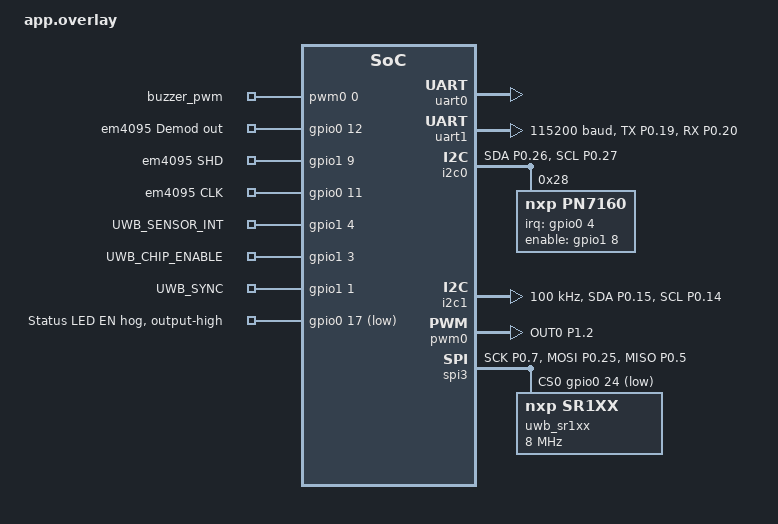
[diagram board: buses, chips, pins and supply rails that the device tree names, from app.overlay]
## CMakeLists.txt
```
# SPDX-License-Identifier: Apache-2.0

cmake_minimum_required(VERSION 3.20.0)

find_package(Zephyr REQUIRED HINTS $ENV{ZEPHYR_BASE})
project(hello_world)

target_sources_ifndef(CONFIG_DTM_TRANSPORT_HCI app PRIVATE
  src/dtm/transport/dtm_uart_twowire.c
  src/dtm/transport/dtm_uart_wait.c
)

target_sources_ifdef(CONFIG_DTM_TRANSPORT_HCI app PRIVATE src/dtm/transport/dtm_hci.c)

if(CONFIG_DTM_TRANSPORT_HCI AND "${BOARD}" STREQUAL "nrf5340dk")
  target_sources(app PRIVATE src/dtm/transport/hci_uart_remote.c)
  target_include_directories(app PRIVATE ./rpc)
else()
  target_sources_ifdef(CONFIG_DTM_TRANSPORT_HCI app PRIVATE src/dtm/transport/hci_uart.c)
endif()

target_include_directories(app PRIVATE
    src/buzzer
    src/radio_test
    src/pn7160
    src/pn7160/inc
    src/pn7160/TML/inc
    src/pn7160/board/inc
    src/pn7160/NfcLibrary_NCI2.0/inc
    src/pn7160/NfcLibrary_NCI2.0/NxpNci20/inc
    src/pn7160/NfcLibrary_NCI2.0/NdefLibrary/inc
    src/dtm/
    src/dtm/transport
    src/em4095/
    src/uwb/common/
    src/uwb/nxp_logic/inc
    src/uwb/ext/firmware_images/SR1XX/
    src/uwb/ext/boards/nrf52840dk/bluetooth/profiles/private_profile/
    src/uwb/libs/halimpl/inc/
    src/uwb/libs/halimpl/fwd/
    src/uwb/libs/halimpl/transport/SPI/
    src/uwb/libs/uci-core/inc/
    src/uwb/libs/uci-core/inc/SR1XX/
    src/uwb/libs/uwb-iot/uwb_core/include/
    src/uwb/libs/uwb-iot/uwb_api/Api/
    src/uwb/libs/uwb-iot/uwb_api/Api/SR1xx/
    src/uwb/libs/uwb-iot/uwb_api/Api/SR1xx/SR150/
    src/uwb/libs/halimpl/fwd/SR1XX/
    src/uwb/boards/Host/Rhodes4/
    src/uwb/boards/Rhodes4_SPI/
    src/uwb/se_mw/se_hostlib/hostLib/fira/inc/
    src/uwb/se_mw/se_hostlib/hostLib/inc/
    src/uwb/se_mw/se_hostlib/hostLib/libCommon/infra/
    src/uwb/se_mw/se_hostlib/hostLib/libCommon/log/
    src/uwb/se_mw/se_hostlib/hostLib/libCommon/smCom/
    src/uwb/se_mw/sss/inc/
    src/uwb/se_mw/sss/ex/inc/
    src/uwb/se_mw/sss/port/default/
    src/uwb/demos/common/
    src/uwb/firmware_images/SR1XX/Prod_ROW/
    src/uwb/firmware_images/SR1XX/
    src/uwb/demo_test_rx/
    src/uwb/demo_test_tx/
)

# Application sources
FILE(GLOB app_sources 
    src/*.c 
    src/cmd/*.c
    src/buzzer/*.c 
    src/radio_test/*.c
    src/pn7160/*.c
    src/pn7160/TML/src/*.c
    src/pn7160/NfcLibrary_NCI2.0/NxpNci20/src/*.c
    src/pn7160/NfcLibrary_NCI2.0/NdefLibrary/src/*.c
    src/dtm/*.c
    src/em4095/*.c
    src/uwb/*.c
)

FILE(GLOB_RECURSE uwb_sources
    src/uwb/*/*.c
)

target_sources(app PRIVATE 
    ${app_sources}
    ${uwb_sources}
)

target_sources(app PRIVATE 
    ${app_sources}
)

target_compile_definitions(app PRIVATE 
    #BUZZER_SUPPORT 
    RW_SUPPORT     # pn7160 
    senao # UWB antenna senao config
    UWBIOT_APP_BUILD__DEMO_TEST_TX
    UWBIOT_APP_BUILD__DEMO_TEST_RX
)
```

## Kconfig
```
# Copyright (c) 2025 Nordic Semiconductor ASA
# SPDX-License-Identifier: Apache-2.0

# Project Kconfig root; sources Zephyr menu.
source "Kconfig.zephyr"

menu "DTM Configuration"
config SHELL_BACKEND_SERIAL_RS485_DE
	bool "Shell UART RS485 DE GPIO control (HIGH before TX, LOW after)"
	default n
	depends on SHELL_BACKEND_SERIAL && GPIO

config SHELL_RS485_DE_GPIO_PIN
	int "RS485 DE GPIO pin (e.g. 21 = P0.21)"
	default 21
	depends on SHELL_BACKEND_SERIAL_RS485_DE

config SHELL_RS485_DE_OFF_DELAY_MS
	int "Delay (ms) before DE goes LOW after TX"
	default 1
	range 0 10
	depends on SHELL_BACKEND_SERIAL_RS485_DE
	help
	  Wait for UART to finish shifting last byte(s). Increase if PuTTY shows missing chars.

config SHELL_RS485_DE_ON_DELAY_US
	int "Delay (us) after DE HIGH before first TX byte"
	default 250
	range 0 1000
	depends on SHELL_BACKEND_SERIAL_RS485_DE
	help
	  Wait for transceiver to drive before sending. Fixes "art:~$" -> "uart:~$".

config SHELL_RS485_DE_MAX_HIGH_MS
	int "Max time (ms) DE stays HIGH; force LOW after to allow RX (Enter)"
	default 10
	range 5 50
	depends on SHELL_BACKEND_SERIAL_RS485_DE
	help
	  Safety: force DE low after this time so device can receive (e.g. Enter key).

config DTM_RADIO_IRQ_PRIORITY
	int "Radio interrupt priority"
	range 0 5 if ZERO_LATENCY_IRQS
	range 0 6
	default 2
	help
	  Sets Radio interrupt priority.
	  Levels are from 0 (highest priority) to 6 (lowest priority)

config DTM_TIMER_IRQ_PRIORITY
	int "DTM timer interrupt priority"
	range 0 5 if ZERO_LATENCY_IRQS
	range 0 6
	default 3
	help
	  Sets DTM timer interrupt priority.
	  Levels are from 0 (highest priority) to 6 (lowest priority)

config ANOMALY_172_TIMER_IRQ_PRIORITY
	int "Anomaly 172 timer interrupt priority"
	depends on SOC_NRF52840
	range 0 5 if ZERO_LATENCY_IRQS
	range 0 6
	default 2
	help
	  Sets anomaly 172 timer interrupt priority.
	  Levels are from 0 (highest priority) to 6 (lowest priority)

config DTM_USB
	bool "DTM over USB CDC ACM class"
	depends on SOC_NRF5340_CPUNET && !DTM_TRANSPORT_HCI
	select EXPERIMENTAL
	help
	  Use USB instead of UART as the DTM interface. For nRF5340 the USB from application core
	  is used as communication interface.

config DTM_TRANSPORT_HCI
	bool "DTM over HCI UART [EXPERIMENTAL]"
	depends on SERIAL
	depends on NET_BUF
	select EXPERIMENTAL
	help
	  Use the HCI UART transport interface as the DTM transport layer.
	  This option is inherited from SB_CONFIG_DTM_TRANSPORT_HCI.

if DTM_TRANSPORT_HCI

config DTM_HCI_QUEUE_COUNT
	int "Count of HCI RX/TX queues"
	default 16
	help
	  Maximum depth of the HCI RX/TX queues.

config DTM_HCI_QUEUE_SIZE
	int "Size of HCI RX/TX queue buffer"
	default 1024
	help
	  Maximum size of the HCI RX/TX queue element.

config DTM_HCI_TX_THREAD_STACK_SIZE
	int "Stack size of TX thread"
	default 2048
	help
	  Stack size of the TX thread.

config DTM_HCI_TX_THREAD_PRIORITY
	int "TX thread priority"
	default 7
	help
	  Priority of the TX thread.

endif # DTM_TRANSPORT_HCI

config DTM_POWER_CONTROL_AUTOMATIC
	bool "Automatic power control"
	depends on FEM
	default y
	help
	  Set the SoC output power and the front-end module gain to achieve the TX output power
	  requested by user. If the exact value cannot be achieved, power is set to the closest
	  possible value. If this option is disabled, user can set the SoC output power and the
	  front-end module gain with the separate vendor specific commands.

config DTM_FAST_RAMP_UP
	bool "Enable radio fast ramp up mode"
	default y
	help
	  Do fast ramp up when starting the radio peripheral. This mode will significancy reduce
	  the ramp up time and makes it almost the same on all supported chips.

module = DTM_TRANSPORT
module-str = "DTM_transport"
source "${ZEPHYR_BASE}/subsys/logging/Kconfig.template.log_config"
endmenu

# RS485 DE (patch shell_uart.c; options here so prj.conf can set them)
menu "RS485 DE Configuration"
config SHELL_BACKEND_SERIAL_RS485_DE
	bool "Shell UART RS485 DE GPIO control (HIGH before TX, LOW after)"
	default n
	depends on SHELL_BACKEND_SERIAL && GPIO

config SHELL_RS485_DE_GPIO_PIN
	int "RS485 DE GPIO pin (e.g. 21 = P0.21)"
	default 21
	depends on SHELL_BACKEND_SERIAL_RS485_DE

config SHELL_RS485_DE_OFF_DELAY_MS
	int "Delay (ms) before DE goes LOW after TX"
	default 1
	range 0 10
	depends on SHELL_BACKEND_SERIAL_RS485_DE
	help
	  Wait for UART to finish shifting last byte(s). Increase if PuTTY shows missing chars.

config SHELL_RS485_DE_ON_DELAY_US
	int "Delay (us) after DE HIGH before first TX byte"
	default 250
	range 0 1000
	depends on SHELL_BACKEND_SERIAL_RS485_DE
	help
	  Wait for transceiver to drive before sending. Fixes "art:~$" -> "uart:~$".

config SHELL_RS485_DE_MAX_HIGH_MS
	int "Max time (ms) DE stays HIGH; force LOW after to allow RX (Enter)"
	default 10
	range 5 50
	depends on SHELL_BACKEND_SERIAL_RS485_DE
	help
	  Safety: force DE low after this time so device can receive (e.g. Enter key).
endmenu

menu "Radio Test Configuration"
config RADIO_TEST_USB
	bool "Radio Test shell over USB CDC ACM class"
	depends on SOC_NRF5340_CPUNET
	select EXPERIMENTAL
	help
	  Use USB instead of UART as the Radio Test shell transport.
	  For nRF5340 the USB from application core is used as communication interface.

config RADIO_TEST_POWER_CONTROL_AUTOMATIC
	bool "Automatic power control"
	depends on FEM
	default y
	help
	  Set SoC output power and front-end module gain to achieve Tx output power requested
	  by user. If the exact value cannot be achieved, power is set to closest value which does
	  not exceed the limits. If this option is disabled, user has to set SoC output power and
	  fem gain with separate commands.

config RADIO_TEST_RX_TIMEOUT
	int "RX packet reception timeout"
	default 10
	help
	  Specifies the time in seconds that the application waits for the first packet to be
	  received in RX mode when a specified number of packets are set to be received.
	  If the timeout is reached before the first packet is received, the radio will be disabled.
endmenu

menu "UWB Configuration"
config UWB_LOG_ENABLED
	bool "Enable UWB logging output"
	default n
	help
	  Enable UWB module logging output. If disabled, all UWB log messages will be suppressed.

config UWB_PRINTK_LOG
	bool "Use printk for UWB logging (instead of shell/logging subsystem)"
	default n
	depends on UWB_LOG_ENABLED
	help
	  If enabled, UWB logs will use printk() directly instead of shell_print() or Zephyr logging subsystem.
	  This is useful for debugging but may produce more verbose output.
endmenu

menu "Shell Configuration"
config SHELL_THREAD_PRIORITY
	int "Shell thread priority"
	default 0
	range -15 15
	help
	  Priority of the shell thread. Lower numbers indicate higher priority.
	  Default is 0 (normal priority). Use negative values for higher priority.
	  For cooperative threads, use K_PRIO_COOP() macro values (typically 0-15).
	  For preemptible threads, use K_PRIO_PREEMPT() macro values (typically -15 to -1).
endmenu
```

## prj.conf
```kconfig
# Console and Shell
CONFIG_SERIAL=y
CONFIG_CONSOLE=y
CONFIG_UART_CONSOLE=y
# Shell: interrupt-driven (stable; avoid Nordic async issues)
CONFIG_SHELL=y
CONFIG_SHELL_BACKEND_SERIAL=y

# RS485 DE: apply patches/0001-shell-uart-rs485-de.patch to Zephyr
CONFIG_SHELL_BACKEND_SERIAL_RS485_DE=y
CONFIG_SHELL_RS485_DE_GPIO_PIN=21
# Delay (ms) before DE low after TX. 3=balance; 4-5=less garbled; 2=faster RX (Enter) but more garbled
CONFIG_SHELL_RS485_DE_OFF_DELAY_MS=1
# Delay (us) after DE high before first byte; fixes "art:~$" -> "uart:~$"
# 減少延遲以加快輸出速度（如果 RS485 線路穩定，可以降低）
CONFIG_SHELL_RS485_DE_ON_DELAY_US=100
# Max DE high (ms); force low after so RX/Enter works
CONFIG_SHELL_RS485_DE_MAX_HIGH_MS=10
CONFIG_SHELL_BACKEND_SERIAL_API_ASYNC=n
CONFIG_SHELL_BACKEND_SERIAL_API_INTERRUPT_DRIVEN=y
CONFIG_UART_INTERRUPT_DRIVEN=y

# Shell init priority lower than UART driver (avoid Hard Fault)
CONFIG_SHELL_BACKEND_SERIAL_INIT_PRIORITY=95

# Shell thread priority (higher priority = lower number, negative for preemptible)
# 設置為 -1 以提高 shell 線程優先級（高於預設的 0）
CONFIG_SHELL_THREAD_PRIORITY=0

CONFIG_SHELL_STACK_SIZE=4096
CONFIG_SHELL_BACKEND_SERIAL_CHECK_DTR=n
# UARTE1 (UART1)
CONFIG_UART_NRFX=y
CONFIG_NRFX_UARTE1=y

# Interrupt-driven; no UART async
# CONFIG_UART_ASYNC_API=y
# CONFIG_UART_1_NRF_HW_ASYNC=y
# CONFIG_UART_1_NRF_HW_ASYNC_TIMER=4
# CONFIG_NRFX_PPI=y

# debug
CONFIG_PRINTK=y
CONFIG_LOG=y
# 讓 Logger 訊息導向 Shell
CONFIG_SHELL_LOG_BACKEND=y
# 設定 Logger 為立即輸出模式（同步，但更直接）
CONFIG_LOG_MODE_IMMEDIATE=y
# 增加日誌緩衝區大小以處理 UWB 模組的大量日誌輸出
CONFIG_LOG_BUFFER_SIZE=65536
# 增加 Shell TX ring buffer 以處理大量輸出（增大以減少阻塞）
CONFIG_SHELL_BACKEND_SERIAL_TX_RING_BUFFER_SIZE=512

# GPIO 和 LED
CONFIG_GPIO=y

# SPI
CONFIG_SPI=y

# 開啟 I2C Shell 指令集
CONFIG_I2C=y
CONFIG_I2C_SHELL=n

#PWM
CONFIG_PWM=y
CONFIG_PWM_NRFX=y

# radio_test
CONFIG_CONSOLE_HANDLER=y
CONFIG_DYNAMIC_INTERRUPTS=y
CONFIG_NRFX_TIMER0=y
CONFIG_NRFX_GPPI=y
CONFIG_CLOCK_CONTROL=y
CONFIG_ENTROPY_GENERATOR=y
CONFIG_NRF_SECURITY=y
# CONFIG_FEM=n (disabled, no FEM hardware)
# CONFIG_FEM_AL_LIB=y (not needed if FEM is disabled)
CONFIG_PICOLIBC_IO_FLOAT=y
CONFIG_SHELL_BACKEND_SERIAL_RX_RING_BUFFER_SIZE=1024

# 11.45 PPM clock
# CONFIG_CLOCK_CONTROL_NRF_K32SRC_SYNTH=y

# dtm
# Use necessary peripherals
CONFIG_NRFX_TIMER0=y
CONFIG_NRFX_TIMER1=y
CONFIG_NRFX_TIMER2=y
CONFIG_NRFX_TIMER3=y
CONFIG_NRFX_GPPI=y
CONFIG_CLOCK_CONTROL=y

CONFIG_FEM_AL_LIB=y
# 需要使用內部 RC 振盪器，不然DTM會有問題
CONFIG_CLOCK_CONTROL_NRF_K32SRC_RC=y

# ==========================================
# mbedTLS 配置 (使用 Zephyr 內建版本)
# ==========================================
# ====================================================
# 1. 關閉 Nordic 專屬的安全層 (關鍵！)
# ====================================================
# 這行是解藥。關閉它，Nordic 就不會去擋 mbedTLS 的原生設定。
CONFIG_NRF_SECURITY=y
CONFIG_MBEDTLS_LEGACY_CRYPTO_C=y

# ====================================================
# 2. 啟用 Zephyr 原生 mbedTLS
# ====================================================
CONFIG_MBEDTLS=y

# GCM 模式 (UWB SE 晶片通訊必備)
CONFIG_MBEDTLS_GCM_C=y

# 亂數產生器 (NXP SDK 需要)
CONFIG_MBEDTLS_CTR_DRBG_C=y
CONFIG_MBEDTLS_HMAC_DRBG_C=y

# Cipher 抽象層
CONFIG_MBEDTLS_CIPHER_C=y

# 大數運算與橢圓曲線 (如果有用到 Key Exchange)
CONFIG_MBEDTLS_ECP_C=y
CONFIG_MBEDTLS_ECP_DP_SECP256R1_ENABLED=y

# 允許從 User Mode 分配 Stack
CONFIG_THREAD_STACK_INFO=y

# 啟用動態執行緒支援
CONFIG_DYNAMIC_THREAD=y

# print mem usage
CONFIG_SYS_HEAP_INFO=n
CONFIG_MAIN_STACK_SIZE=16384
CONFIG_ISR_STACK_SIZE=4096
CONFIG_SYSTEM_WORKQUEUE_STACK_SIZE=4096

# Heap memory pool for k_malloc/k_free
CONFIG_HEAP_MEM_POOL_SIZE=16384

CONFIG_UWB_PRINTK_LOG=y
```

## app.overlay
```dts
&qspi {
    status = "disabled";
};

&arduino_serial {
    status = "disabled";
};

&timer4 {
    status = "disabled";
};

&led1 {
    status = "disabled";
};

&led2 {
    status = "disabled";
};

&spi1 {
    status = "disabled";
};

&button0 {
    status = "disabled";
};

&button1 {
    status = "disabled";
};

&uart0 {
    status = "okay";
};


/* UART1 (RS485)：TX=P0.19, RX=P0.20；P0.21 (DE) 由程式 GPIO 控制 */
&uart1 {
    status = "okay";
    compatible = "nordic,nrf-uarte";
    current-speed = <115200>;
    pinctrl-0 = <&uart1_default>;
    pinctrl-1 = <&uart1_sleep>;
    pinctrl-names = "default", "sleep";
};

&pinctrl {
    uart0_default: uart0_default {
        group1 {
            psels = <NRF_PSEL(UART_TX, 0, 6)>;
        };
        group2 {
            psels = <NRF_PSEL(UART_RX, 0, 8)>;
            bias-pull-up;
        };
    };
    uart0_sleep: uart0_sleep {
        group1 {
            psels = <NRF_PSEL(UART_TX, 0, 6)>,
                    <NRF_PSEL(UART_RX, 0, 8)>;
            low-power-enable;
        };
    };

    uart1_default: uart1_default {
        group1 {
            psels = <NRF_PSEL(UART_TX, 0, 19)>;
            nordic,drive-mode = <NRF_DRIVE_H0H1>;
        };
        group2 {
            psels = <NRF_PSEL(UART_RX, 0, 20)>;
            bias-pull-up;
        };
    };
    uart1_sleep: uart1_sleep {
        group1 {
            psels = <NRF_PSEL(UART_TX, 0, 19)>,
                    <NRF_PSEL(UART_RX, 0, 20)>;
            low-power-enable;
        };
    };

    i2c0_default: i2c0_default {
        group1 {
            psels = <NRF_PSEL(TWIM_SDA, 0, 26)>,
                    <NRF_PSEL(TWIM_SCL, 0, 27)>;
        };
        bias-pull-up;
    };

    i2c0_sleep: i2c0_sleep {
        group1 {
            psels = <NRF_PSEL(TWIM_SDA, 0, 26)>,
                    <NRF_PSEL(TWIM_SCL, 0, 27)>;
            low-power-enable;
        };
    };

    i2c1_default: i2c1_default {
        group1 {
            psels = <NRF_PSEL(TWIM_SDA, 0, 15)>,
                    <NRF_PSEL(TWIM_SCL, 0, 14)>;
        };
    };

    i2c1_sleep: i2c1_sleep {
        group1 {
            psels = <NRF_PSEL(TWIM_SDA, 0, 15)>,
                    <NRF_PSEL(TWIM_SCL, 0, 14)>;
            low-power-enable;
        };
    };

    spi3_default: spi3_default {
        group1 {
            psels = <NRF_PSEL(SPIM_SCK, 0, 7)>, /* CLK  P0.07 */
                    <NRF_PSEL(SPIM_MOSI, 0, 25)>, /* MOSI P0.25 */
                    <NRF_PSEL(SPIM_MISO, 0, 5)>;  /* MISO P0.05 */
        };
    };

    spi3_sleep: spi3_sleep {
        group1 {
            psels = <NRF_PSEL(SPIM_SCK, 0, 7)>,
                    <NRF_PSEL(SPIM_MOSI, 0, 25)>,
                    <NRF_PSEL(SPIM_MISO, 0, 5)>;
            low-power-enable;
        };
    };

    pwm0_default: pwm0_default {
        group1 {
            psels = <NRF_PSEL(PWM_OUT0, 1, 2)>;
            bias-pull-down;
        };
    };

    pwm0_sleep: pwm0_sleep {
        group1 {
            psels = <NRF_PSEL(PWM_OUT0, 1, 2)>;
            low-power-enable;
        };
    };
};

&gpio0 {
    gpio-reserved-ranges = <0 2>, <6 1>, <8 3>;
    status_led {
        gpio-hog;
        gpios = <17 GPIO_ACTIVE_LOW>;
        output-high;
        line-name = "Status LED EN";
    };
};

&i2c0 {
    status = "okay";
    pinctrl-0 = <&i2c0_default>;
    pinctrl-1 = <&i2c0_sleep>;
    pinctrl-names = "default", "sleep";
    pn7160: pn7160@28 {
        compatible = "nxp,pn7160";
        status = "okay";
        reg = <0x28>;

        irq-gpios = <&gpio0 4 GPIO_ACTIVE_HIGH>;
        enable-gpios = <&gpio1 8 GPIO_ACTIVE_HIGH>;
    };
};

&i2c1 {
    status = "okay";
    pinctrl-0 = <&i2c1_default>;
    pinctrl-1 = <&i2c1_sleep>;
    pinctrl-names = "default", "sleep";
    clock-frequency = <I2C_BITRATE_STANDARD>;
};

&pwm0 {
    status = "okay";
    pinctrl-0 = <&pwm0_default>;
    pinctrl-1 = <&pwm0_sleep>;
    pinctrl-names = "default", "sleep";
};

&spi3 {
    status = "okay";
    compatible = "nordic,nrf-spim";
    pinctrl-0 = <&spi3_default>;
    pinctrl-1 = <&spi3_sleep>;
    pinctrl-names = "default", "sleep";

    /* CS 腳位定義: P0.24 */
    cs-gpios = <&gpio0 24 GPIO_ACTIVE_LOW>;

    /* 定義 SR1xx 裝置節點 */
    uwb_sr1xx: uwb@0 {
        compatible = "nxp,sr1xx"; /* 配合 Driver 的 Compatible String */
        reg = <0>;                /* 對應 cs-gpios 的第 0 個 CS */
        spi-max-frequency = <8000000>; /* 8MHz */
    };
};

/ {
    chosen {
        zephyr,console = &uart0;
        zephyr,shell-uart = &uart0;
        ncs,dtm-uart = &uart0;
    };

    pwm_buzzer {
        compatible = "pwm-leds";
        buzzer_pwm: buzzer_pwm {
            pwms = <&pwm0 0 PWM_HZ(1000) PWM_POLARITY_NORMAL>;
        };
    };

    em4095_gpio {
        compatible = "gpio-keys";

        demod_out: demodout{
            gpios = <&gpio0 12 GPIO_ACTIVE_HIGH>;
            label = "em4095 Demod out";
        };

        SHD: shd{
            gpios = <&gpio1 9 GPIO_ACTIVE_HIGH>;
            label = "em4095 SHD";
        };

        CLK: clk{
            gpios = <&gpio0 11 GPIO_ACTIVE_HIGH>;
            label = "em4095 CLK";
        };
    };

    uwb_control {
        compatible = "gpio-keys"; /* 借用 gpio-keys 結構來管理一般 GPIO */

        uwb_irq: uwb_irq {
            gpios = <&gpio1 4 (GPIO_ACTIVE_HIGH | GPIO_PULL_DOWN)>;
            label = "UWB_SENSOR_INT";
        };

        uwb_ce: uwb_ce {
            gpios = <&gpio1 3 GPIO_ACTIVE_HIGH>;
            label = "UWB_CHIP_ENABLE";
        };

        uwb_sync: uwb_sync {
            gpios = <&gpio1 1 GPIO_ACTIVE_HIGH>;
            label = "UWB_SYNC";
        };
    };

    aliases {
        pwmbuzzer = &buzzer_pwm;
        em4095demodout = &demod_out;
        em4095shd = &SHD;
        em4095clk = &CLK;
        uwbspi = &uwb_sr1xx;      /* 指定使用 SPI3 作為 UWB 通訊介面 */
        uwbirqgpio = &uwb_irq;    /* P1.04 (GPIO5/SensorInt) */
        uwbcegpio  = &uwb_ce;     /* P1.03 (ChipEnable) */
        uwbsyncgpio = &uwb_sync;  /* P1.01 (GPIO3/Sync) */
    };
};
```

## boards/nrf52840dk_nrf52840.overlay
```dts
/* nRF52840 DK：Console/Shell 使用 UART0（板載 USB VCOM），插上 USB 後開 COM 埠 115200 即可。
 * UART1 仍啟用，可從程式使用（RS485 接腳 P0.19/20/21）。 */

&qspi {
	status = "disabled";
};

&timer4 {
	status = "disabled";
};

/* 使用板載 UART0 = DK USB 序列埠，不關閉 */
&uart0 {
	status = "okay";
	current-speed = <115200>;
};

&uart1 {
	status = "okay";
	compatible = "nordic,nrf-uarte";
	current-speed = <115200>;
	pinctrl-0 = <&uart1_default>;
	pinctrl-1 = <&uart1_sleep>;
	pinctrl-names = "default", "sleep";
};

&pinctrl {
	uart1_default: uart1_default {
		group1 {
			psels = <NRF_PSEL(UART_TX, 0, 19)>,
				<NRF_PSEL(UART_RTS, 0, 21)>;
		};
		group2 {
			psels = <NRF_PSEL(UART_RX, 0, 20)>;
			bias-pull-up;
		};
	};
	uart1_sleep: uart1_sleep {
		group1 {
			psels = <NRF_PSEL(UART_TX, 0, 19)>,
				<NRF_PSEL(UART_RX, 0, 20)>;
			low-power-enable;
		};
	};
};

/ {
	chosen {
		zephyr,console = &uart0;
		zephyr,shell-uart = &uart0;
	};
};
```

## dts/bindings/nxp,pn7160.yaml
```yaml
# hello_world/dts/bindings/nxp,pn7160.yaml

description: NXP PN7160 NFC Controller

compatible: "nxp,pn7160"

include: i2c-device.yaml

properties:
  irq-gpios:
    type: phandle-array
    required: true
    description: Interrupt pin from PN7160 to Host (Input)

  enable-gpios:
    type: phandle-array
    required: true
    description: Enable/Reset pin from Host to PN7160 (Output)
```

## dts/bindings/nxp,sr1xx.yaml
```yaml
# dts/bindings/nxp,sr1xx.yaml

description: NXP UWB Controller (SR1xx)

compatible: "nxp,sr1xx"

include: spi-device.yaml

properties:
    irq-gpios:
        type: phandle-array
        required: false
        description: Interrupt pin (INT)

    reset-gpios:
        type: phandle-array
        required: false
        description: Reset pin (RST)
        
    ce-gpios:
        type: phandle-array
        required: false
        description: Chip Enable pin (CE)
```

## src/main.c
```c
/*
 * Copyright (c) 2012-2014 Wind River Systems, Inc.
 *
 * SPDX-License-Identifier: Apache-2.0
 *
 * Zephyr Shell on UART1 (RS485): TX=P0.19, RX=P0.20, P0.21=DE.
 * Shell TX DE is controlled by patch (HIGH before TX, LOW after); here only
 * boot message DE.
 */

#include <zephyr/kernel.h>
#include <zephyr/logging/log.h>
#include <zephyr/shell/shell.h>
#include <string.h>

#include "buzzer.h"
#include "radio_test.h"

LOG_MODULE_REGISTER(my_app);

#ifdef CONFIG_SHELL_THREAD_PRIORITY
/* 回調函數用於查找 shell 線程 */
static void find_shell_thread_cb(const struct k_thread* thread, void* user_data) {
  const char* thread_name = k_thread_name_get((k_tid_t)thread);
  if (thread_name != NULL && strcmp(thread_name, "shell_uart") == 0) {
    k_tid_t* found_tid = (k_tid_t*)user_data;
    *found_tid = (k_tid_t)thread;
  }
}
#endif

int main(void) {
  tone_powerup();
  clock_init();

  k_msleep(50);
  /* 使用 LOG 系統確保輸出 */
  printk("Senao Shell ready. Type 'help' for commands.\n");

  /* 再次延遲確保輸出完成 */
  k_msleep(50);

  /* 設置 shell 線程優先級
   * 使用 CONFIG_SHELL_THREAD_PRIORITY 配置值
   * 負數表示可搶占優先級（更高優先級），正數表示協作優先級
   */
#ifdef CONFIG_SHELL_THREAD_PRIORITY
  k_tid_t shell_tid = NULL;
  /* 使用 k_thread_foreach 遍歷所有線程查找 shell 線程 */
  k_thread_foreach(find_shell_thread_cb, &shell_tid);
  
  if (shell_tid != NULL) {
    k_thread_priority_set(shell_tid, CONFIG_SHELL_THREAD_PRIORITY);
    printk("Shell thread priority set to %d\n", CONFIG_SHELL_THREAD_PRIORITY);
  } else {
    printk("Warning: Shell thread not found, priority not set\n");
  }
#endif

  k_sleep(K_FOREVER);
  return 0;
}
```
